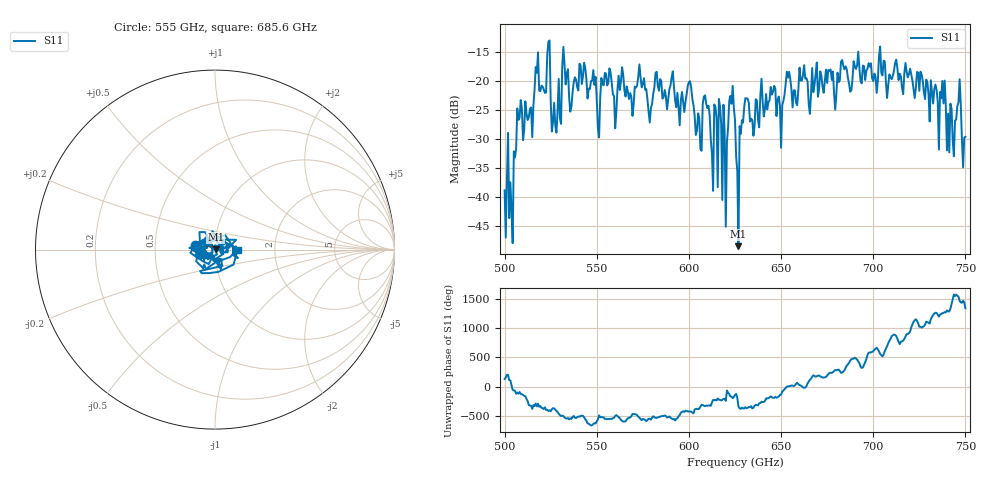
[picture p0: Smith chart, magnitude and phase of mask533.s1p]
!Created with skrf (http://scikit-rf.org).
# GHz S MA R 50.0
!freq magS11 angS11
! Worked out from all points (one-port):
!   401 points, 500 GHz to 750 GHz, reference 50 ohm
!   lowest |S11| = -48.5 dB at 626.9 GHz (marker M1), VSWR 1.01, Z = 50.4 + j0.115 ohm
!   |S11| at or under -10 dB: start of sweep to end of sweep
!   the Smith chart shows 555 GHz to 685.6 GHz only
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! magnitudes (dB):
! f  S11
! 500 GHz  -38.9
! 503.8 GHz  -42.2
! 508.1 GHz  -26.4
! 513.8 GHz  -24.9
! 517.5 GHz  -18.6
! 523.8 GHz  -13.3
! 526.9 GHz  -23.8
! 531.2 GHz  -17.7
! 541.9 GHz  -20.6
! 551.2 GHz  -29.8
! 562.5 GHz  -21.6
! 593.8 GHz  -22.1
! 600.6 GHz  -20.1
! 605.6 GHz  -26.5
! 609.4 GHz  -23.9
! 619.4 GHz  -28.9
! 623.1 GHz  -24.0
! 625 GHz  -26.8
! 626.9 GHz  -48.5
! 631.2 GHz  -23.0
! 634.4 GHz  -26.8
! 656.2 GHz  -24.6
! 687.5 GHz  -21.9
! 718.8 GHz  -19.4
! 737.5 GHz  -20.0
! 742.5 GHz  -24.8
! 746.2 GHz  -23.7
! 750 GHz  -29.6
